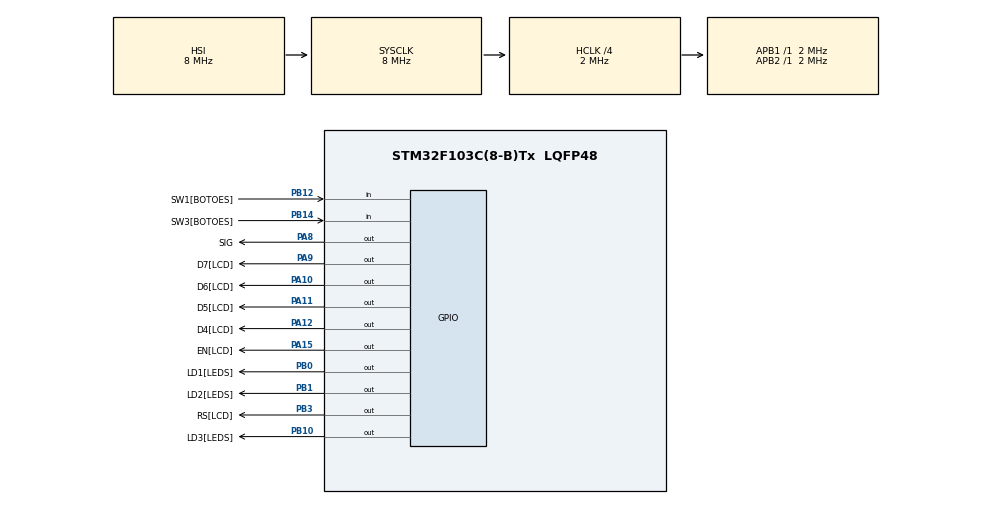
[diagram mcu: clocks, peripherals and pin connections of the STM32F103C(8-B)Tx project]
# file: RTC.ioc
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Mcu.Family=STM32F1
Mcu.Name=STM32F103C(8-B)Tx
Mcu.Package=LQFP48
NVIC.PriorityGroup=NVIC_PRIORITYGROUP_4
NVIC.RTC_Alarm_IRQn=true\:0\:0\:false\:false\:true\:true
PA10.GPIO_Label=D6[LCD]
PA10.Signal=GPIO_Output
PA11.GPIO_Label=D5[LCD]
PA11.Signal=GPIO_Output
PA12.GPIO_Label=D4[LCD]
PA12.Signal=GPIO_Output
PA13.Mode=Serial_Wire
PA13.Signal=SYS_JTMS-SWDIO
PA14.Mode=Serial_Wire
PA14.Signal=SYS_JTCK-SWCLK
PA15.GPIO_Label=EN[LCD]
PA15.Signal=GPIO_Output
PA8.GPIO_Label=SIG
PA8.Signal=GPIO_Output
PA9.GPIO_Label=D7[LCD]
PA9.Signal=GPIO_Output
PB0.GPIO_Label=LD1[LEDS]
PB0.Signal=GPIO_Output
PB1.GPIO_Label=LD2[LEDS]
PB1.Signal=GPIO_Output
PB10.GPIO_Label=LD3[LEDS]
PB10.Signal=GPIO_Output
PB12.GPIO_Label=SW1[BOTOES]
PB12.GPIO_PuPd=GPIO_PULLUP
PB12.Signal=GPIO_Input
PB14.GPIO_Label=SW3[BOTOES]
PB14.GPIO_PuPd=GPIO_PULLUP
PB14.Signal=GPIO_Input
PB3.GPIO_Label=RS[LCD]
PB3.Signal=GPIO_Output
PC14-OSC32_IN.Mode=LSE-External-Oscillator
PC14-OSC32_IN.Signal=RCC_OSC32_IN
PC15-OSC32_OUT.Mode=LSE-External-Oscillator
PC15-OSC32_OUT.Signal=RCC_OSC32_OUT
ProjectManager.HeapSize=0x200
ProjectManager.StackSize=0x400
ProjectManager.TargetToolchain=TrueSTUDIO
RCC.AHBCLKDivider=RCC_SYSCLK_DIV4
RCC.AHBFreq_Value=2000000
RCC.APB1Freq_Value=2000000
RCC.APB1TimFreq_Value=2000000
RCC.APB2Freq_Value=2000000
RCC.APB2TimFreq_Value=2000000
RCC.HCLKFreq_Value=2000000
RCC.PLLMUL=RCC_PLL_MUL9
RCC.RTCClockSelection=RCC_RTCCLKSOURCE_LSE
RCC.SYSCLKFreq_VALUE=8000000
RCC.USBFreq_Value=36000000
RTC.Date=28
RTC.Hours=12
RTC.Minutes=12
RTC.Month=RTC_MONTH_MARCH
RTC.Seconds=12
RTC.Year=18
VP_RTC_No_RTC_Output.Mode=RTC_OUT_NO
VP_RTC_VS_RTC_Activate.Mode=RTC_Enabled
VP_RTC_VS_RTC_Calendar.Mode=RTC_Calendar
board=RTC

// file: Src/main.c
/**
  ******************************************************************************
  * @file           : main.c
  * @brief          : Main program body
  ******************************************************************************
  ** This notice applies to any and all portions of this file
  * that are not between comment pairs USER CODE BEGIN and
  * USER CODE END. Other portions of this file, whether
  * inserted by the user or by software development tools
  * are owned by their respective copyright owners.
  *
  * COPYRIGHT(c) 2018 STMicroelectronics
  *
  * Redistribution and use in source and binary forms, with or without modification,
  * are permitted provided that the following conditions are met:
  *   1. Redistributions of source code must retain the above copyright notice,
  *      this list of conditions and the following disclaimer.
  *   2. Redistributions in binary form must reproduce the above copyright notice,
  *      this list of conditions and the following disclaimer in the documentation
  *      and/or other materials provided with the distribution.
  *   3. Neither the name of STMicroelectronics nor the names of its contributors
  *      may be used to endorse or promote products derived from this software
  *      without specific prior written permission.
  *
  * THIS SOFTWARE IS PROVIDED BY THE COPYRIGHT HOLDERS AND CONTRIBUTORS "AS IS"
  * AND ANY EXPRESS OR IMPLIED WARRANTIES, INCLUDING, BUT NOT LIMITED TO, THE
  * IMPLIED WARRANTIES OF MERCHANTABILITY AND FITNESS FOR A PARTICULAR PURPOSE ARE
  * DISCLAIMED. IN NO EVENT SHALL THE COPYRIGHT HOLDER OR CONTRIBUTORS BE LIABLE
  * FOR ANY DIRECT, INDIRECT, INCIDENTAL, SPECIAL, EXEMPLARY, OR CONSEQUENTIAL
  * DAMAGES (INCLUDING, BUT NOT LIMITED TO, PROCUREMENT OF SUBSTITUTE GOODS OR
  * SERVICES; LOSS OF USE, DATA, OR PROFITS; OR BUSINESS INTERRUPTION) HOWEVER
  * CAUSED AND ON ANY THEORY OF LIABILITY, WHETHER IN CONTRACT, STRICT LIABILITY,
  * OR TORT (INCLUDING NEGLIGENCE OR OTHERWISE) ARISING IN ANY WAY OUT OF THE USE
  * OF THIS SOFTWARE, EVEN IF ADVISED OF THE POSSIBILITY OF SUCH DAMAGE.
  *
  ******************************************************************************
  */
#include "main.h"
#include "stm32f1xx_hal.h"

/* USER CODE BEGIN Includes */

#include "stdio.h"

/* USER CODE END Includes */

RTC_HandleTypeDef hrtc;

/* USER CODE BEGIN PV */
/* Private variables ---------------------------------------------------------*/

char buffer[10],string[25];

/* USER CODE END PV */

void SystemClock_Config(void);
static void MX_GPIO_Init(void);
static void MX_RTC_Init(void);

/* USER CODE BEGIN PFP */
/* Private function prototypes -----------------------------------------------*/

/* USER CODE END PFP */

/* USER CODE BEGIN 0 */

void write_lcd (uint8_t data, uint8_t cmd_data)
{
	// identifica comando ou dado
	if (cmd_data) HAL_GPIO_WritePin(RS_GPIO_Port, RS_Pin, GPIO_PIN_SET);
	else 					HAL_GPIO_WritePin(RS_GPIO_Port, RS_Pin, GPIO_PIN_RESET);

	// 4 bits high
	if (data & 0x80) HAL_GPIO_WritePin (D7_GPIO_Port, D7_Pin, GPIO_PIN_SET);
	else						 HAL_GPIO_WritePin (D7_GPIO_Port, D7_Pin, GPIO_PIN_RESET);
	if (data & 0x40) HAL_GPIO_WritePin (D6_GPIO_Port, D6_Pin, GPIO_PIN_SET);
	else						 HAL_GPIO_WritePin (D6_GPIO_Port, D6_Pin, GPIO_PIN_RESET);
	if (data & 0x20) HAL_GPIO_WritePin (D5_GPIO_Port, D5_Pin, GPIO_PIN_SET);
	else						 HAL_GPIO_WritePin (D5_GPIO_Port, D5_Pin, GPIO_PIN_RESET);
	if (data & 0x10) HAL_GPIO_WritePin (D4_GPIO_Port, D4_Pin, GPIO_PIN_SET);
	else						 HAL_GPIO_WritePin (D4_GPIO_Port, D4_Pin, GPIO_PIN_RESET);

	HAL_GPIO_WritePin(EN_GPIO_Port, EN_Pin, GPIO_PIN_SET);
	HAL_Delay(2);
	HAL_GPIO_WritePin(EN_GPIO_Port, EN_Pin, GPIO_PIN_RESET);

	// 4 bits Low
	if (data & 0x08) HAL_GPIO_WritePin (D7_GPIO_Port, D7_Pin, GPIO_PIN_SET);
	else						 HAL_GPIO_WritePin (D7_GPIO_Port, D7_Pin, GPIO_PIN_RESET);
	if (data & 0x04) HAL_GPIO_WritePin (D6_GPIO_Port, D6_Pin, GPIO_PIN_SET);
	else						 HAL_GPIO_WritePin (D6_GPIO_Port, D6_Pin, GPIO_PIN_RESET);
	if (data & 0x02) HAL_GPIO_WritePin (D5_GPIO_Port, D5_Pin, GPIO_PIN_SET);
	else						 HAL_GPIO_WritePin (D5_GPIO_Port, D5_Pin, GPIO_PIN_RESET);
	if (data & 0x01) HAL_GPIO_WritePin (D4_GPIO_Port, D4_Pin, GPIO_PIN_SET);
	else						 HAL_GPIO_WritePin (D4_GPIO_Port, D4_Pin, GPIO_PIN_RESET);

	HAL_GPIO_WritePin(EN_GPIO_Port, EN_Pin, GPIO_PIN_SET);
	HAL_Delay(2);
	HAL_GPIO_WritePin(EN_GPIO_Port, EN_Pin, GPIO_PIN_RESET);
}

/* init_LCD - Inicializa o display em 4bits */
void init_lcd(void)
{
	write_lcd(0x33, 0);
	write_lcd(0x32, 0);
	write_lcd(0x28, 0);
	write_lcd(0x06, 0);
	write_lcd(0x0C, 0);
	write_lcd(0x01, 0);
}

/* string_lcd - escreve string no LCD */
void string_lcd (char *string)
{
	while(*string) write_lcd(*string++, 1);
}

uint8_t  Hour;
uint8_t  Min;
uint8_t  Sec;

uint8_t  counter = 0x00;

void HAL_RTC_AlarmEventCallback (RTC_HandleTypeDef *hrtc)
{
	counter+=100;
	HAL_GPIO_WritePin(LD1_GPIO_Port, LD1_Pin, GPIO_PIN_SET);
}

/* USER CODE END 0 */

int main(void)
{

  /* MCU Configuration----------------------------------------------------------*/

  /* Reset of all peripherals, Initializes the Flash interface and the Systick. */
  HAL_Init();

  /* Configure the system clock */
  SystemClock_Config();

  /* Initialize all configured peripherals */
  MX_GPIO_Init();
  MX_RTC_Init();
  /* USER CODE BEGIN 2 */

  HAL_GPIO_WritePin(SIG_GPIO_Port, SIG_Pin, GPIO_PIN_SET);

  // *---------------- Set Time- RTC -----------------------*

  RTC_TimeTypeDef  RTC_Time;
  RTC_AlarmTypeDef RTC_Alarm_Time;

  HAL_RTC_GetTime(&hrtc, &RTC_Time, RTC_FORMAT_BCD);

  Hour = RTC_Time.Hours;
  Min  = RTC_Time.Minutes;
  Sec  = RTC_Time.Seconds;

  RTC_Time.Hours = 0x05;
  RTC_Time.Minutes = 0x05;
  RTC_Time.Seconds = 0x00;

  RTC_Alarm_Time.Alarm = 1;
  RTC_Alarm_Time.AlarmTime.Hours = 0x05;
  RTC_Alarm_Time.AlarmTime.Minutes = 0x05;
  RTC_Alarm_Time.AlarmTime.Seconds = 0x30;

  HAL_Delay(5000);

  HAL_RTC_SetTime(&hrtc, &RTC_Time, RTC_FORMAT_BCD);
  HAL_RTC_SetAlarm_IT(&hrtc, &RTC_Alarm_Time, RTC_FORMAT_BCD);

  //---------------------------------------------------------

  /* USER CODE END 2 */

  /* Infinite loop */
  while (1)
  {

  /* USER CODE BEGIN 3 */

	  HAL_RTC_GetTime(&hrtc, &RTC_Time, RTC_FORMAT_BCD);

	  Hour = RTC_Time.Hours;
	  Min  = RTC_Time.Minutes;
	  Sec  = RTC_Time.Seconds;

  }
  /* USER CODE END 3 */

}

void SystemClock_Config(void)
{

  RCC_OscInitTypeDef RCC_OscInitStruct;
  RCC_ClkInitTypeDef RCC_ClkInitStruct;
  RCC_PeriphCLKInitTypeDef PeriphClkInit;

    /**Initializes the CPU, AHB and APB busses clocks
    */
  RCC_OscInitStruct.OscillatorType = RCC_OSCILLATORTYPE_HSI|RCC_OSCILLATORTYPE_LSE;
  RCC_OscInitStruct.LSEState = RCC_LSE_ON;
  RCC_OscInitStruct.HSIState = RCC_HSI_ON;
  RCC_OscInitStruct.HSICalibrationValue = 16;
  RCC_OscInitStruct.PLL.PLLState = RCC_PLL_NONE;
  if (HAL_RCC_OscConfig(&RCC_OscInitStruct) != HAL_OK)
  {
    _Error_Handler(__FILE__, __LINE__);
  }

    /**Initializes the CPU, AHB and APB busses clocks
    */
  RCC_ClkInitStruct.ClockType = RCC_CLOCKTYPE_HCLK|RCC_CLOCKTYPE_SYSCLK
                              |RCC_CLOCKTYPE_PCLK1|RCC_CLOCKTYPE_PCLK2;
  RCC_ClkInitStruct.SYSCLKSource = RCC_SYSCLKSOURCE_HSI;
  RCC_ClkInitStruct.AHBCLKDivider = RCC_SYSCLK_DIV4;
  RCC_ClkInitStruct.APB1CLKDivider = RCC_HCLK_DIV1;
  RCC_ClkInitStruct.APB2CLKDivider = RCC_HCLK_DIV1;

  if (HAL_RCC_ClockConfig(&RCC_ClkInitStruct, FLASH_LATENCY_0) != HAL_OK)
  {
    _Error_Handler(__FILE__, __LINE__);
  }

  PeriphClkInit.PeriphClockSelection = RCC_PERIPHCLK_RTC;
  PeriphClkInit.RTCClockSelection = RCC_RTCCLKSOURCE_LSE;
  if (HAL_RCCEx_PeriphCLKConfig(&PeriphClkInit) != HAL_OK)
  {
    _Error_Handler(__FILE__, __LINE__);
  }

    /**Configure the Systick interrupt time
    */
  HAL_SYSTICK_Config(HAL_RCC_GetHCLKFreq()/1000);

    /**Configure the Systick
    */
  HAL_SYSTICK_CLKSourceConfig(SYSTICK_CLKSOURCE_HCLK);

  /* SysTick_IRQn interrupt configuration */
  HAL_NVIC_SetPriority(SysTick_IRQn, 0, 0);
}

/* RTC init function */
static void MX_RTC_Init(void)
{

  RTC_TimeTypeDef sTime;
  RTC_DateTypeDef DateToUpdate;

    /**Initialize RTC Only
    */
  hrtc.Instance = RTC;
  if(HAL_RTCEx_BKUPRead(&hrtc, RTC_BKP_DR1) != 0x32F2){
  hrtc.Init.AsynchPrediv = RTC_AUTO_1_SECOND;
  hrtc.Init.OutPut = RTC_OUTPUTSOURCE_NONE;
  if (HAL_RTC_Init(&hrtc) != HAL_OK)
  {
    _Error_Handler(__FILE__, __LINE__);
  }

    /**Initialize RTC and set the Time and Date
    */
  sTime.Hours = 0x12;
  sTime.Minutes = 0x12;
  sTime.Seconds = 0x12;

  if (HAL_RTC_SetTime(&hrtc, &sTime, RTC_FORMAT_BCD) != HAL_OK)
  {
    _Error_Handler(__FILE__, __LINE__);
  }

  DateToUpdate.WeekDay = RTC_WEEKDAY_MONDAY;
  DateToUpdate.Month = RTC_MONTH_MARCH;
  DateToUpdate.Date = 0x28;
  DateToUpdate.Year = 0x18;

  if (HAL_RTC_SetDate(&hrtc, &DateToUpdate, RTC_FORMAT_BCD) != HAL_OK)
  {
    _Error_Handler(__FILE__, __LINE__);
  }

    HAL_RTCEx_BKUPWrite(&hrtc,RTC_BKP_DR1,0x32F2);
  }

}

/** Configure pins as
        * Analog
        * Input
        * Output
        * EVENT_OUT
        * EXTI
*/
static void MX_GPIO_Init(void)
{

  GPIO_InitTypeDef GPIO_InitStruct;

  /* GPIO Ports Clock Enable */
  __HAL_RCC_GPIOC_CLK_ENABLE();
  __HAL_RCC_GPIOB_CLK_ENABLE();
  __HAL_RCC_GPIOA_CLK_ENABLE();

  /*Configure GPIO pin Output Level */
  HAL_GPIO_WritePin(GPIOB, LD1_Pin|LD2_Pin|LD3_Pin|RS_Pin, GPIO_PIN_RESET);

  /*Configure GPIO pin Output Level */
  HAL_GPIO_WritePin(GPIOA, SIG_Pin|D7_Pin|D6_Pin|D5_Pin
                          |D4_Pin|EN_Pin, GPIO_PIN_RESET);

  /*Configure GPIO pins : LD1_Pin LD2_Pin LD3_Pin RS_Pin */
  GPIO_InitStruct.Pin = LD1_Pin|LD2_Pin|LD3_Pin|RS_Pin;
  GPIO_InitStruct.Mode = GPIO_MODE_OUTPUT_PP;
  GPIO_InitStruct.Speed = GPIO_SPEED_FREQ_LOW;
  HAL_GPIO_Init(GPIOB, &GPIO_InitStruct);

  /*Configure GPIO pins : SW1_Pin SW3_Pin */
  GPIO_InitStruct.Pin = SW1_Pin|SW3_Pin;
  GPIO_InitStruct.Mode = GPIO_MODE_INPUT;
  GPIO_InitStruct.Pull = GPIO_PULLUP;
  HAL_GPIO_Init(GPIOB, &GPIO_InitStruct);

  /*Configure GPIO pins : SIG_Pin D7_Pin D6_Pin D5_Pin
                           D4_Pin EN_Pin */
  GPIO_InitStruct.Pin = SIG_Pin|D7_Pin|D6_Pin|D5_Pin
                          |D4_Pin|EN_Pin;
  GPIO_InitStruct.Mode = GPIO_MODE_OUTPUT_PP;
  GPIO_InitStruct.Speed = GPIO_SPEED_FREQ_LOW;
  HAL_GPIO_Init(GPIOA, &GPIO_InitStruct);

}

void _Error_Handler(char *file, int line)
{
  while(1)
  {
  }
}

/************************ (C) COPYRIGHT STMicroelectronics *****END OF FILE****/
